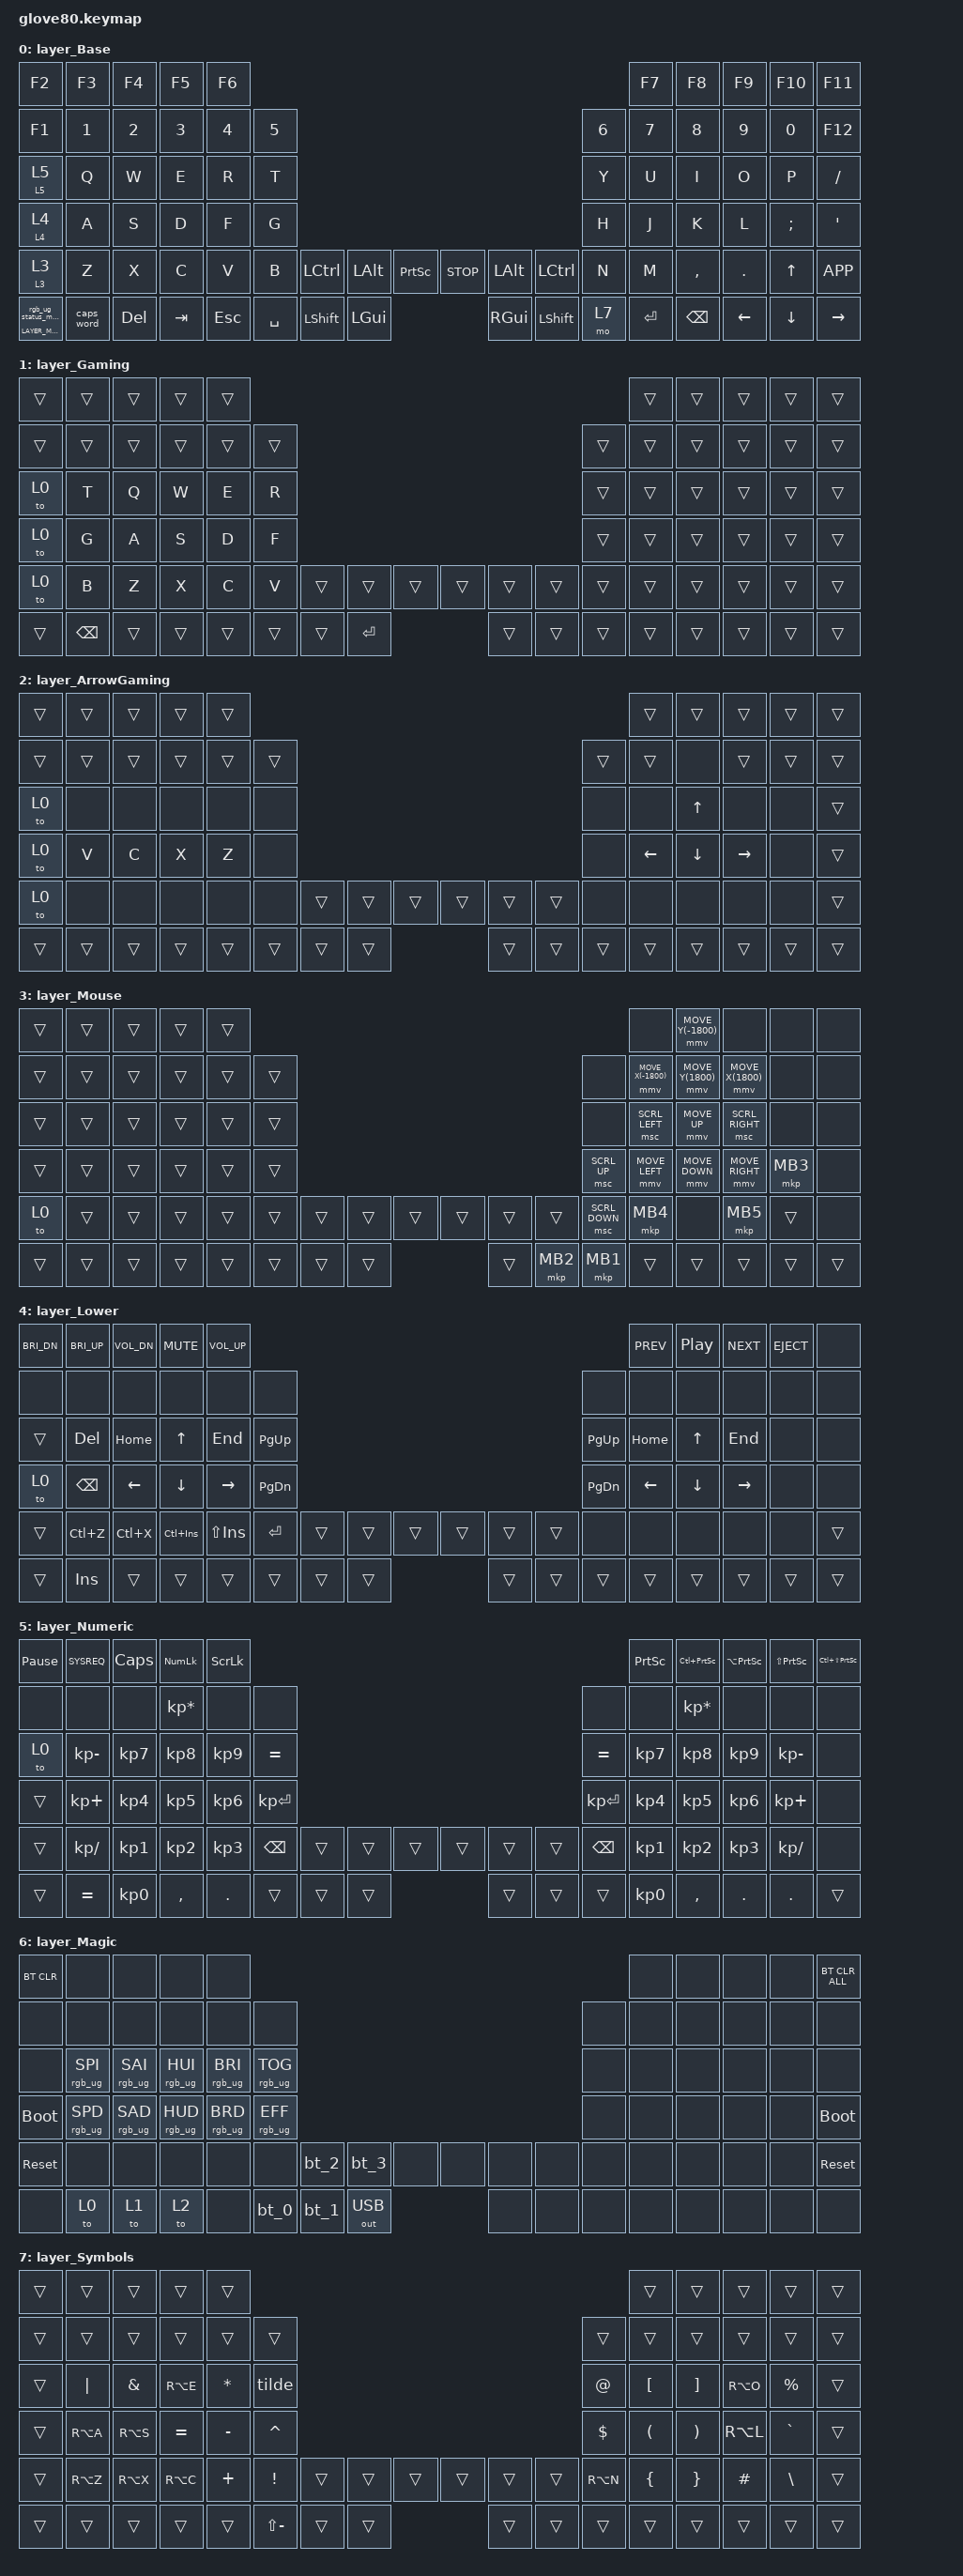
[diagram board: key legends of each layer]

/*
 * Copyright (c) 2020 The ZMK Contributors
 * Copyright (c) 2023 Innaworks Development Limited, trading as MoErgo
 *
 * SPDX-License-Identifier: MIT
 */


/* THIS FILE WAS GENERATED BY GLOVE80 LAYOUT EDITOR
 *
 * This file was generated automatically. You may or may not want to
 * edit it directly.
 */

#include <behaviors.dtsi>
#include <behaviors/mouse_keys.dtsi>
#include <behaviors/mouse_move.dtsi>
#include <behaviors/mouse_scroll.dtsi>
/* Include all behavior includes needed */
#include <dt-bindings/zmk/outputs.h>
#include <dt-bindings/zmk/keys.h>
#include <dt-bindings/zmk/bt.h>
#include <dt-bindings/zmk/rgb.h>

#include "./mouse.dtsi"

/* Automatically generated layer name #define */
#define LAYER_Base 0
#define LAYER_Gaming 1
#define LAYER_ArrowGaming 2
#define LAYER_Mouse 3
#define LAYER_Lower 4
#define LAYER_Numeric 5
#define LAYER_Magic 6
#define LAYER_Symbols 7

/* To deal with the situation where there is no Lower layer, to keep &lower happy */
#ifndef LAYER_Lower
#define LAYER_Lower 0
#endif

/* Custom Device-tree */


/* Glove80 system behavior & macros */
/ {
    behaviors {
        // For the "layer" key, it'd nice to be able to use it as either a shift or a toggle.
        // Configure it as a tap dance, so the first tap (or hold) is a &mo and the second tap is a &to
        lower: lower {
            compatible = "zmk,behavior-tap-dance";
            label = "LAYER_TAP_DANCE";
            #binding-cells = <0>;
            tapping-term-ms = <200>;
            bindings = <&mo LAYER_Lower>, <&to LAYER_Lower>;
        };
    };
};

/ {
    macros {
        rgb_ug_status_macro: rgb_ug_status_macro {
            label = "RGB_UG_STATUS";
            compatible = "zmk,behavior-macro";
            #binding-cells = <0>;
            bindings
                = <&rgb_ug RGB_STATUS>;
        };
    };
};


/ {
#ifdef BT_DISC_CMD
    behaviors {
        bt_0: bt_0 {
            compatible = "zmk,behavior-tap-dance";
            label = "BT_0";
            #binding-cells = <0>;
            tapping-term-ms = <200>;
            bindings = <&bt_select_0>, <&bt BT_DISC 0>;
        };
        bt_1: bt_1 {
            compatible = "zmk,behavior-tap-dance";
            label = "BT_1";
            #binding-cells = <0>;
            tapping-term-ms = <200>;
            bindings = <&bt_select_1>, <&bt BT_DISC 1>;
        };
        bt_2: bt_2 {
            compatible = "zmk,behavior-tap-dance";
            label = "BT_2";
            #binding-cells = <0>;
            tapping-term-ms = <200>;
            bindings = <&bt_select_2>, <&bt BT_DISC 2>;
        };
        bt_3: bt_3 {
            compatible = "zmk,behavior-tap-dance";
            label = "BT_3";
            #binding-cells = <0>;
            tapping-term-ms = <200>;
            bindings = <&bt_select_3>, <&bt BT_DISC 3>;
        };
    };
    macros {
        bt_select_0: bt_select_0 {
            label = "BT_SELECT_0";
            compatible = "zmk,behavior-macro";
            #binding-cells = <0>;
            bindings
                = <&out OUT_BLE>,
                  <&bt BT_SEL 0>;
        };
        bt_select_1: bt_select_1 {
            label = "BT_SELECT_1";
            compatible = "zmk,behavior-macro";
            #binding-cells = <0>;
            bindings
                = <&out OUT_BLE>,
                  <&bt BT_SEL 1>;
        };
        bt_select_2: bt_select_2 {
            label = "BT_SELECT_2";
            compatible = "zmk,behavior-macro";
            #binding-cells = <0>;
            bindings
                = <&out OUT_BLE>,
                  <&bt BT_SEL 2>;
        };
        bt_select_3: bt_select_3 {
            label = "BT_SELECT_3";
            compatible = "zmk,behavior-macro";
            #binding-cells = <0>;
            bindings
                = <&out OUT_BLE>,
                  <&bt BT_SEL 3>;
        };
    };
#else
    macros {
        bt_0: bt_0 {
            label = "BT_0";
            compatible = "zmk,behavior-macro";
            #binding-cells = <0>;
            bindings
                = <&out OUT_BLE>,
                  <&bt BT_SEL 0>;
        };
        bt_1: bt_1 {
            label = "BT_1";
            compatible = "zmk,behavior-macro";
            #binding-cells = <0>;
            bindings
                = <&out OUT_BLE>,
                  <&bt BT_SEL 1>;
        };
        bt_2: bt_2 {
            label = "BT_2";
            compatible = "zmk,behavior-macro";
            #binding-cells = <0>;
            bindings
                = <&out OUT_BLE>,
                  <&bt BT_SEL 2>;
        };
        bt_3: bt_3 {
            label = "BT_3";
            compatible = "zmk,behavior-macro";
            #binding-cells = <0>;
            bindings
                = <&out OUT_BLE>,
                  <&bt BT_SEL 3>;
        };
    };
#endif
};

/ {
    behaviors {
        magic: magic {
            compatible = "zmk,behavior-hold-tap";
            label = "MAGIC_HOLD_TAP";
            #binding-cells = <2>;
            flavor = "tap-preferred";
            tapping-term-ms = <200>;
            bindings = <&mo>, <&rgb_ug_status_macro>;
        };
    };
};

/* #define for key positions */
#define POS_LH_T1 52
#define POS_LH_T2 53
#define POS_LH_T3 54
#define POS_LH_T4 69
#define POS_LH_T5 70
#define POS_LH_T6 71
#define POS_LH_C1R2 15
#define POS_LH_C1R3 27
#define POS_LH_C1R4 39
#define POS_LH_C1R5 51
#define POS_LH_C2R1 4
#define POS_LH_C2R2 14
#define POS_LH_C2R3 26
#define POS_LH_C2R4 38
#define POS_LH_C2R5 50
#define POS_LH_C2R6 68
#define POS_LH_C3R1 3
#define POS_LH_C3R2 13
#define POS_LH_C3R3 25
#define POS_LH_C3R4 37
#define POS_LH_C3R5 49
#define POS_LH_C3R6 67
#define POS_LH_C4R1 2
#define POS_LH_C4R2 12
#define POS_LH_C4R3 24
#define POS_LH_C4R4 36
#define POS_LH_C4R5 48
#define POS_LH_C4R6 66
#define POS_LH_C5R1 1
#define POS_LH_C5R2 11
#define POS_LH_C5R3 23
#define POS_LH_C5R4 35
#define POS_LH_C5R5 47
#define POS_LH_C5R6 65
#define POS_LH_C6R1 0
#define POS_LH_C6R2 10
#define POS_LH_C6R3 22
#define POS_LH_C6R4 34
#define POS_LH_C6R5 46
#define POS_LH_C6R6 64
#define POS_RH_T1 57
#define POS_RH_T2 56
#define POS_RH_T3 55
#define POS_RH_T4 74
#define POS_RH_T5 73
#define POS_RH_T6 72
#define POS_RH_C1R2 16
#define POS_RH_C1R3 28
#define POS_RH_C1R4 40
#define POS_RH_C1R5 58
#define POS_RH_C2R1 5
#define POS_RH_C2R2 17
#define POS_RH_C2R3 29
#define POS_RH_C2R4 41
#define POS_RH_C2R5 59
#define POS_RH_C2R6 75
#define POS_RH_C3R1 6
#define POS_RH_C3R2 18
#define POS_RH_C3R3 30
#define POS_RH_C3R4 42
#define POS_RH_C3R5 60
#define POS_RH_C3R6 76
#define POS_RH_C4R1 7
#define POS_RH_C4R2 19
#define POS_RH_C4R3 31
#define POS_RH_C4R4 43
#define POS_RH_C4R5 61
#define POS_RH_C4R6 77
#define POS_RH_C5R1 8
#define POS_RH_C5R2 20
#define POS_RH_C5R3 32
#define POS_RH_C5R4 44
#define POS_RH_C5R5 62
#define POS_RH_C5R6 78
#define POS_RH_C6R1 9
#define POS_RH_C6R2 21
#define POS_RH_C6R3 33
#define POS_RH_C6R4 45
#define POS_RH_C6R5 63
#define POS_RH_C6R6 79

/* Custom Defined Behaviors */
/ {

behaviors {

    dual_layer_trick: dual_layer_trick {
        compatible = "zmk,behavior-hold-tap";
        retro-tap;
        hold-while-undecided;
        label = "DUAL_LAYER_TRICK";
        bindings = <&mo>, <&to>;
        #binding-cells = <2>;
        tapping-term-ms = <200>;
    };

};
};

/* Automatically generated macro definitions */
/ {
    macros {
        tilde: tilde {
            label = "&TILDE";
            compatible = "zmk,behavior-macro";
            #binding-cells = <0>;
            
            
            bindings
                = <&kp LS(GRAVE)>
                , <&kp SPACE>;
        };
    };
};

/* Automatically generated keymap */
/ {
    keymap {
        compatible = "zmk,keymap";


        layer_Base {
            bindings = <
                &kp F2      &kp F3   &kp F4   &kp F5   &kp F6                                                                                      &kp F7     &kp F8    &kp F9   &kp F10    &kp F11
                &kp F1      &kp N1   &kp N2   &kp N3   &kp N4  &kp N5                                                                     &kp N6   &kp N7     &kp N8    &kp N9    &kp N0    &kp F12
 &dual_layer_trick 5 5       &kp Q    &kp W    &kp E    &kp R   &kp T                                                                      &kp Y    &kp U      &kp I     &kp O     &kp P   &kp FSLH
 &dual_layer_trick 4 4       &kp A    &kp S    &kp D    &kp F   &kp G                                                                      &kp H    &kp J      &kp K     &kp L  &kp SEMI    &kp SQT
 &dual_layer_trick 3 3       &kp Z    &kp X    &kp C    &kp V   &kp B  &kp LCTRL   &kp LALT  &kp PSCRN  &kp C_STOP   &kp LALT  &kp LCTRL   &kp N    &kp M  &kp COMMA   &kp DOT    &kp UP  &kp K_APP
  &magic LAYER_Magic 0  &caps_word  &kp DEL  &kp TAB  &kp ESC          &kp SPACE  &kp LSHFT   &kp LGUI    &kp RGUI  &kp LSHFT      &mo 7          &kp RET   &kp BSPC  &kp LEFT  &kp DOWN  &kp RIGHT
            >;
        };

        layer_Gaming {
            bindings = <
 &trans   &trans    &trans  &trans  &trans                                                                   &trans  &trans  &trans  &trans  &trans
 &trans   &trans    &trans  &trans  &trans  &trans                                                   &trans  &trans  &trans  &trans  &trans  &trans
  &to 0    &kp T     &kp Q   &kp W   &kp E   &kp R                                                   &trans  &trans  &trans  &trans  &trans  &trans
  &to 0    &kp G     &kp A   &kp S   &kp D   &kp F                                                   &trans  &trans  &trans  &trans  &trans  &trans
  &to 0    &kp B     &kp Z   &kp X   &kp C   &kp V  &trans  &trans   &trans  &trans  &trans  &trans  &trans  &trans  &trans  &trans  &trans  &trans
 &trans  &kp BSPC   &trans  &trans  &trans          &trans  &trans  &kp RET  &trans  &trans  &trans          &trans  &trans  &trans  &trans  &trans
            >;
        };

        layer_ArrowGaming {
            bindings = <
 &trans  &trans  &trans  &trans  &trans                                                                    &trans    &trans     &trans  &trans  &trans
 &trans  &trans  &trans  &trans  &trans  &trans                                                  &trans    &trans     &none     &trans  &trans  &trans
  &to 0   &none   &none   &none   &none   &none                                                   &none     &none    &kp UP      &none   &none  &trans
  &to 0   &kp V   &kp C   &kp X   &kp Z   &none                                                   &none  &kp LEFT  &kp DOWN  &kp RIGHT   &none  &trans
  &to 0   &none   &none   &none   &none   &none  &trans  &trans  &trans  &trans  &trans  &trans   &none     &none     &none      &none   &none  &trans
 &trans  &trans  &trans  &trans  &trans          &trans  &trans  &trans  &trans  &trans  &trans            &trans    &trans     &trans  &trans  &trans
            >;
        };

        layer_Mouse {
            bindings = <
 &trans  &trans  &trans  &trans  &trans                                                                                           &none  &mmv MOVE_Y(-1800)              &none     &none   &none
 &trans  &trans  &trans  &trans  &trans  &trans                                                               &none  &mmv MOVE_X(-1800)   &mmv MOVE_Y(1800)  &mmv MOVE_X(1800)     &none   &none
 &trans  &trans  &trans  &trans  &trans  &trans                                                               &none      &msc SCRL_LEFT        &mmv MOVE_UP    &msc SCRL_RIGHT     &none   &none
 &trans  &trans  &trans  &trans  &trans  &trans                                                        &msc SCRL_UP      &mmv MOVE_LEFT      &mmv MOVE_DOWN    &mmv MOVE_RIGHT  &mkp MB3   &none
  &to 0  &trans  &trans  &trans  &trans  &trans  &trans  &trans  &trans  &trans    &trans    &trans  &msc SCRL_DOWN            &mkp MB4               &none           &mkp MB5    &trans   &none
 &trans  &trans  &trans  &trans  &trans          &trans  &trans  &trans  &trans  &mkp MB2  &mkp MB1                              &trans              &trans             &trans    &trans  &trans
            >;
        };

        layer_Lower {
            bindings = <
 &kp C_BRI_DN  &kp C_BRI_UP  &kp C_VOL_DN   &kp C_MUTE  &kp C_VOL_UP                                                                        &kp C_PREV  &kp C_PP  &kp C_NEXT  &kp C_EJECT   &none
        &none         &none         &none        &none         &none      &none                                                      &none       &none     &none       &none        &none   &none
       &trans       &kp DEL      &kp HOME       &kp UP       &kp END  &kp PG_UP                                                  &kp PG_UP    &kp HOME    &kp UP     &kp END        &none   &none
        &to 0      &kp BSPC      &kp LEFT     &kp DOWN     &kp RIGHT  &kp PG_DN                                                  &kp PG_DN    &kp LEFT  &kp DOWN   &kp RIGHT        &none   &none
       &trans     &kp LC(Z)     &kp LC(X)  &kp LC(INS)   &kp LS(INS)    &kp RET  &trans  &trans  &trans  &trans  &trans  &trans      &none       &none     &none       &none        &none  &trans
       &trans       &kp INS        &trans       &trans        &trans             &trans  &trans  &trans  &trans  &trans  &trans                 &trans    &trans      &trans       &trans  &trans
            >;
        };

        layer_Numeric {
            bindings = <
 &kp PAUSE_BREAK    &kp SYSREQ   &kp CAPS       &kp KP_NUM   &kp SLCK                                                                              &kp PSCRN    &kp LC(PSCRN)  &kp LA(PSCRN)  &kp LS(PSCRN)  &kp LC(LS(PSCRN))
           &none         &none      &none  &kp KP_MULTIPLY      &none         &none                                                         &none      &none  &kp KP_MULTIPLY          &none          &none              &none
           &to 0  &kp KP_MINUS  &kp KP_N7        &kp KP_N8  &kp KP_N9     &kp EQUAL                                                     &kp EQUAL  &kp KP_N7        &kp KP_N8      &kp KP_N9   &kp KP_MINUS              &none
          &trans   &kp KP_PLUS  &kp KP_N4        &kp KP_N5  &kp KP_N6  &kp KP_ENTER                                                  &kp KP_ENTER  &kp KP_N4        &kp KP_N5      &kp KP_N6    &kp KP_PLUS              &none
          &trans  &kp KP_SLASH  &kp KP_N1        &kp KP_N2  &kp KP_N3      &kp BSPC  &trans  &trans  &trans  &trans  &trans  &trans      &kp BSPC  &kp KP_N1        &kp KP_N2      &kp KP_N3   &kp KP_SLASH              &none
          &trans     &kp EQUAL  &kp KP_N0        &kp COMMA    &kp DOT                &trans  &trans  &trans  &trans  &trans  &trans                &kp KP_N0        &kp COMMA        &kp DOT        &kp DOT             &trans
            >;
        };

        layer_Magic {
            bindings = <
  &bt BT_CLR            &none            &none            &none            &none                                                                                  &none   &none   &none   &none  &bt BT_CLR_ALL
       &none            &none            &none            &none            &none            &none                                                         &none   &none   &none   &none   &none           &none
       &none  &rgb_ug RGB_SPI  &rgb_ug RGB_SAI  &rgb_ug RGB_HUI  &rgb_ug RGB_BRI  &rgb_ug RGB_TOG                                                         &none   &none   &none   &none   &none           &none
 &bootloader  &rgb_ug RGB_SPD  &rgb_ug RGB_SAD  &rgb_ug RGB_HUD  &rgb_ug RGB_BRD  &rgb_ug RGB_EFF                                                         &none   &none   &none   &none   &none     &bootloader
  &sys_reset            &none            &none            &none            &none            &none   &bt_2   &bt_3         &none   &none   &none   &none   &none   &none   &none   &none   &none      &sys_reset
       &none            &to 0            &to 1            &to 2            &none                    &bt_0   &bt_1  &out OUT_USB   &none   &none   &none           &none   &none   &none   &none           &none
            >;
        };

        layer_Symbols {
            bindings = <
 &trans     &trans     &trans     &trans     &trans                                                                                 &trans    &trans     &trans     &trans  &trans
 &trans     &trans     &trans     &trans     &trans     &trans                                                            &trans    &trans    &trans     &trans     &trans  &trans
 &trans   &kp PIPE   &kp AMPS  &kp RA(E)   &kp STAR     &tilde                                                            &kp AT  &kp LBKT  &kp RBKT  &kp RA(O)  &kp PRCNT  &trans
 &trans  &kp RA(A)  &kp RA(S)  &kp EQUAL  &kp MINUS  &kp CARET                                                          &kp DLLR  &kp LPAR  &kp RPAR  &kp RA(L)  &kp GRAVE  &trans
 &trans  &kp RA(Z)  &kp RA(X)  &kp RA(C)   &kp PLUS   &kp EXCL         &trans  &trans  &trans  &trans  &trans  &trans  &kp RA(N)  &kp LBRC  &kp RBRC   &kp HASH   &kp BSLH  &trans
 &trans     &trans     &trans     &trans     &trans             &kp LS(MINUS)  &trans  &trans  &trans  &trans  &trans               &trans    &trans     &trans     &trans  &trans
            >;
        };

    };
};
